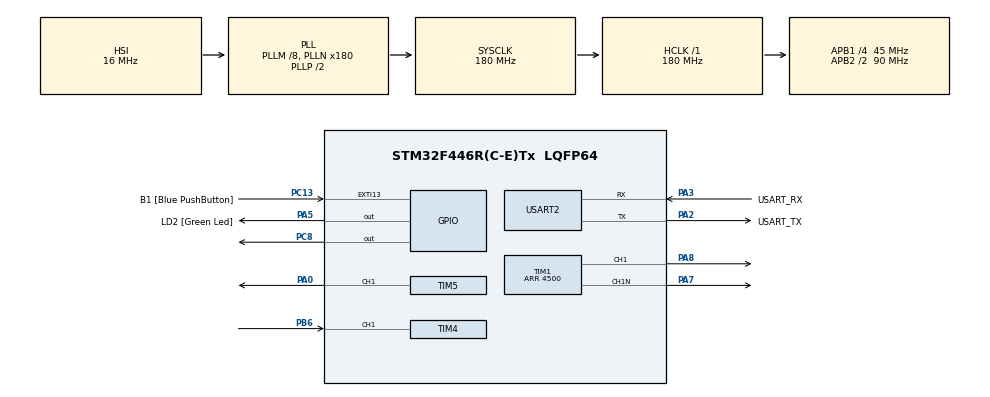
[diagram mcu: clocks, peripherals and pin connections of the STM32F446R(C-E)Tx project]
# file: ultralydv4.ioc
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FREERTOS.Tasks01=defaultTask,24,128,StartDefaultTask,As weak,NULL,Dynamic,NULL,NULL
Mcu.Family=STM32F4
Mcu.Name=STM32F446R(C-E)Tx
Mcu.Package=LQFP64
NVIC.PriorityGroup=NVIC_PRIORITYGROUP_4
NVIC.TIM2_IRQn=true\:5\:0\:false\:false\:true\:true\:true\:true\:true
NVIC.TIM4_IRQn=true\:5\:0\:false\:false\:true\:true\:true\:true\:true
PA0-WKUP.Signal=S_TIM5_CH1
PA13.GPIO_Label=TMS
PA13.Mode=Serial_Wire
PA13.Signal=SYS_JTMS-SWDIO
PA14.GPIO_Label=TCK
PA14.Mode=Serial_Wire
PA14.Signal=SYS_JTCK-SWCLK
PA2.GPIO_Label=USART_TX
PA2.Mode=Asynchronous
PA2.Signal=USART2_TX
PA3.GPIO_Label=USART_RX
PA3.Mode=Asynchronous
PA3.Signal=USART2_RX
PA5.GPIO_Label=LD2 [Green Led]
PA5.Signal=GPIO_Output
PA7.Mode=PWM Generation1 CH1 CH1N
PA7.Signal=TIM1_CH1N
PA8.Signal=S_TIM1_CH1
PB3.GPIO_Label=SWO
PB3.Signal=SYS_JTDO-SWO
PB6.Signal=S_TIM4_CH1
PC13.GPIO_Label=B1 [Blue PushButton]
PC13.GPIO_ModeDefaultEXTI=GPIO_MODE_IT_FALLING
PC13.Signal=GPXTI13
PC14-OSC32_IN.Mode=LSE-External-Oscillator
PC14-OSC32_IN.Signal=RCC_OSC32_IN
PC15-OSC32_OUT.Mode=LSE-External-Oscillator
PC15-OSC32_OUT.Signal=RCC_OSC32_OUT
PC8.Signal=GPIO_Output
ProjectManager.HeapSize=0x200
ProjectManager.StackSize=0x400
ProjectManager.TargetToolchain=STM32CubeIDE
RCC.48MHZClocksFreq_Value=84000000
RCC.AHBFreq_Value=180000000
RCC.APB1CLKDivider=RCC_HCLK_DIV4
RCC.APB1Freq_Value=45000000
RCC.APB1TimFreq_Value=90000000
RCC.APB2CLKDivider=RCC_HCLK_DIV2
RCC.APB2Freq_Value=90000000
RCC.APB2TimFreq_Value=180000000
RCC.CortexFreq_Value=180000000
RCC.FLatency-AdvancedSettings=FLASH_LATENCY_5
RCC.HCLKFreq_Value=180000000
RCC.HSE_VALUE=8000000
RCC.HSI_VALUE=16000000
RCC.PLLM=8
RCC.PLLN=180
RCC.SYSCLKFreq_VALUE=180000000
RCC.SYSCLKSource=RCC_SYSCLKSOURCE_PLLCLK
RCC.USBFreq_Value=180000000
RCC.VCOOutputFreq_Value=360000000
SH.S_TIM1_CH1.0=TIM1_CH1,PWM Generation1 CH1 CH1N
SH.S_TIM4_CH1.0=TIM4_CH1,Input_Capture1_from_TI1
SH.S_TIM5_CH1.0=TIM5_CH1,PWM Generation1 CH1
TIM1.AutoReloadPreload=TIM_AUTORELOAD_PRELOAD_ENABLE
TIM1.BreakState=TIM_BREAK_DISABLE
TIM1.Channel-PWM\ Generation1\ CH1\ CH1N=TIM_CHANNEL_1
TIM1.DeadTime=20
TIM1.Period=4500
TIM1.Pulse-PWM\ Generation1\ CH1\ CH1N=40
TIM2.Period=22500
TIM4.Channel-Input_Capture1_from_TI1=TIM_CHANNEL_1
TIM4.Prescaler=14
TIM5.AutoReloadPreload=TIM_AUTORELOAD_PRELOAD_ENABLE
TIM5.Channel-PWM\ Generation1\ CH1=TIM_CHANNEL_1
TIM5.Period=2000
TIM5.Prescaler=45
TIM5.Pulse-PWM\ Generation1\ CH1=1000
USART2.VirtualMode=VM_ASYNC
VP_FREERTOS_VS_CMSIS_V2.Mode=CMSIS_V2
VP_TIM1_VS_ClockSourceINT.Mode=Internal
VP_TIM2_VS_ClockSourceINT.Mode=Internal
VP_TIM2_VS_OPM.Mode=OPM_bit
VP_TIM4_VS_ClockSourceINT.Mode=Internal
VP_TIM5_VS_ClockSourceINT.Mode=Internal
board=NUCLEO-F446RE

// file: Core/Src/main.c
/* USER CODE BEGIN Header */
/**
  ******************************************************************************
  * @file           : main.c
  * @brief          : Main program body
  ******************************************************************************
  * @attention
  *
  * Copyright (c) 2023 STMicroelectronics.
  * All rights reserved.
  *
  * This software is licensed under terms that can be found in the LICENSE file
  * in the root directory of this software component.
  * If no LICENSE file comes with this software, it is provided AS-IS.
  *
  ******************************************************************************
  */
/* USER CODE END Header */
#include "main.h"
#include "cmsis_os.h"
#include "tim.h"
#include "usart.h"
#include "gpio.h"

/* USER CODE BEGIN Includes */
#include "BuzzerTask.h"
#include "DefTask.h"
/* USER CODE END Includes */

/* USER CODE BEGIN PV */
int captured_value1 = 10;
int hardwareDelayFlag = 0;
/* USER CODE END PV */

void SystemClock_Config(void);
void MX_FREERTOS_Init(void);

int main(void)
{

  /* MCU Configuration--------------------------------------------------------*/

  /* Reset of all peripherals, Initializes the Flash interface and the Systick. */
  HAL_Init();

  /* Configure the system clock */
  SystemClock_Config();

  /* Initialize all configured peripherals */
  MX_GPIO_Init();
  MX_USART2_UART_Init();
  MX_TIM1_Init();
  MX_TIM2_Init();
  MX_TIM4_Init();
  MX_TIM5_Init();

  /* Init scheduler */
  osKernelInitialize();  /* Call init function for freertos objects (in freertos.c) */
  MX_FREERTOS_Init();

  /* Start scheduler */
  osKernelStart();

  /* We should never get here as control is now taken by the scheduler */
  /* Infinite loop */
  while (1)
  {

  }
}

void SystemClock_Config(void)
{
  RCC_OscInitTypeDef RCC_OscInitStruct = {0};
  RCC_ClkInitTypeDef RCC_ClkInitStruct = {0};

  /** Configure the main internal regulator output voltage
  */
  __HAL_RCC_PWR_CLK_ENABLE();
  __HAL_PWR_VOLTAGESCALING_CONFIG(PWR_REGULATOR_VOLTAGE_SCALE1);

  /** Initializes the RCC Oscillators according to the specified parameters
  * in the RCC_OscInitTypeDef structure.
  */
  RCC_OscInitStruct.OscillatorType = RCC_OSCILLATORTYPE_HSI;
  RCC_OscInitStruct.HSIState = RCC_HSI_ON;
  RCC_OscInitStruct.HSICalibrationValue = RCC_HSICALIBRATION_DEFAULT;
  RCC_OscInitStruct.PLL.PLLState = RCC_PLL_ON;
  RCC_OscInitStruct.PLL.PLLSource = RCC_PLLSOURCE_HSI;
  RCC_OscInitStruct.PLL.PLLM = 8;
  RCC_OscInitStruct.PLL.PLLN = 180;
  RCC_OscInitStruct.PLL.PLLP = RCC_PLLP_DIV2;
  RCC_OscInitStruct.PLL.PLLQ = 2;
  RCC_OscInitStruct.PLL.PLLR = 2;
  if (HAL_RCC_OscConfig(&RCC_OscInitStruct) != HAL_OK)
  {
    Error_Handler();
  }

  /** Activate the Over-Drive mode
  */
  if (HAL_PWREx_EnableOverDrive() != HAL_OK)
  {
    Error_Handler();
  }

  /** Initializes the CPU, AHB and APB buses clocks
  */
  RCC_ClkInitStruct.ClockType = RCC_CLOCKTYPE_HCLK|RCC_CLOCKTYPE_SYSCLK
                              |RCC_CLOCKTYPE_PCLK1|RCC_CLOCKTYPE_PCLK2;
  RCC_ClkInitStruct.SYSCLKSource = RCC_SYSCLKSOURCE_PLLCLK;
  RCC_ClkInitStruct.AHBCLKDivider = RCC_SYSCLK_DIV1;
  RCC_ClkInitStruct.APB1CLKDivider = RCC_HCLK_DIV4;
  RCC_ClkInitStruct.APB2CLKDivider = RCC_HCLK_DIV2;

  if (HAL_RCC_ClockConfig(&RCC_ClkInitStruct, FLASH_LATENCY_5) != HAL_OK)
  {
    Error_Handler();
  }
}

/* USER CODE BEGIN 4 */
void HAL_TIM_IC_CaptureCallback(TIM_HandleTypeDef *htim)
{
	if (htim->Instance == TIM4) {
		HAL_GPIO_TogglePin(GPIOC, GPIO_PIN_8);
		captured_value1 = TIM4->CCR1;
		TIM4->DIER &= ~(1<<1);
	}
}
void HAL_TIM_PeriodElapsedCallback(TIM_HandleTypeDef *htim)
{
	if (htim->Instance == TIM2) {
//		HAL_GPIO_TogglePin(GPIOC, GPIO_PIN_8);
		if(hardwareDelayFlag == 1)
		{
//			HAL_GPIO_TogglePin(GPIOC, GPIO_PIN_8);
			HAL_TIM_PWM_Stop(&htim1, TIM_CHANNEL_1);
			HAL_TIMEx_PWMN_Stop(&htim1, TIM_CHANNEL_1);
			TIM1->CNT = 0;
			TIM2->ARR = 54000;
			__HAL_TIM_ENABLE(&htim2);
			hardwareDelayFlag = 0;
		}
		else
		{
					//HAL_GPIO_TogglePin(GPIOC, GPIO_PIN_8);
					__HAL_TIM_ENABLE(&htim4);
					TIM4->DIER |= (1<<1);
					TIM4->SR &= ~(1<<1);
					TIM4->CNT = 0;
					//TIM4->DIER
		}

	}
}
/* USER CODE END 4 */

void Error_Handler(void)
{
  __disable_irq();
  while (1)
  {
  }
}

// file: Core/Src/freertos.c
/* USER CODE BEGIN Header */
/**
  ******************************************************************************
  * File Name          : freertos.c
  * Description        : Code for freertos applications
  ******************************************************************************
  * @attention
  *
  * Copyright (c) 2023 STMicroelectronics.
  * All rights reserved.
  *
  * This software is licensed under terms that can be found in the LICENSE file
  * in the root directory of this software component.
  * If no LICENSE file comes with this software, it is provided AS-IS.
  *
  ******************************************************************************
  */
/* USER CODE END Header */

#include "FreeRTOS.h"
#include "task.h"
#include "main.h"
#include "cmsis_os.h"

/* USER CODE BEGIN Includes */
#include "DefTask.h"
#include "BuzzerTask.h"
/* USER CODE END Includes */

/* Definitions for defaultTask */

void MX_FREERTOS_Init(void); /* (MISRA C 2004 rule 8.1) */

void MX_FREERTOS_Init(void) {
  /* USER CODE BEGIN Init */
	deftask_init();
	buzzer_init();
  /* USER CODE END Init */

  /* Create the thread(s) */
  /* creation of defaultTask */

}

__weak void StartDefaultTask(void *argument)
{
  for(;;)
  {
    osDelay(1);
  }
}
